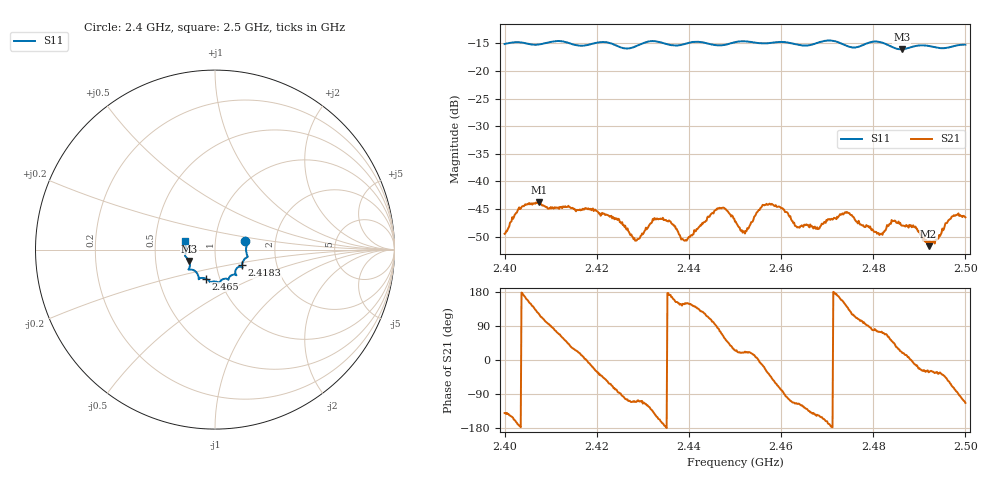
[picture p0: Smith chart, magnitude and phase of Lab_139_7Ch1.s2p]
# Hz S RI R 50
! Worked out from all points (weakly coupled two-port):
!   601 points, 2.4 GHz to 2.5 GHz, reference 50 ohm
!   highest |S21| = -43.81 dB at 2.4075 GHz (marker M1); lowest = -51.7 dB at 2.492 GHz (marker M2)
!   lowest |S11| = -16.1 dB at 2.4862 GHz (marker M3), VSWR 1.37, Z = 37.2 - j4.85 ohm
!   |S11| at or under -10 dB: start of sweep to end of sweep
!   S12 and S22 are empty: the file has one direction only
!   S11 on the Smith chart (normalised r, x): 2.4 GHz: 1.40, +0.14; 2.4183 GHz: 1.33, -0.24; 2.465 GHz: 0.86, -0.28; 2.5 GHz: 0.71, +0.07
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2.4e9  0.1689 0.0471  -0.00257 -0.00216  0 0  0 0
2.403333e9  0.179 0.0317  -0.00559 -0.000523  0 0  0 0
2.4075e9  0.1735 -0.00937  -0.00329 0.00554  0 0  0 0
2.416667e9  0.1547 -0.0684  0.00542 0.00119  0 0  0 0
2.418333e9  0.15 -0.087  0.00553 -0.000795  0 0  0 0
2.4245e9  0.1385 -0.0949  0.000494 -0.00445  0 0  0 0
2.4285e9  0.1129 -0.1237  -0.00103 -0.00273  0 0  0 0
2.433333e9  0.1177 -0.1411  -0.00412 -0.00191  0 0  0 0
2.439167e9  0.0777 -0.1577  -0.00252 0.00145  0 0  0 0
2.446333e9  0.0508 -0.1629  0.000643 0.00566  0 0  0 0
2.45e9  0.0264 -0.1804  0.0039 0.00186  0 0  0 0
2.452167e9  0.0213 -0.1842  0.00313 0.00127  0 0  0 0
2.457833e9  -0.0162 -0.1787  0.00439 -0.00432  0 0  0 0
2.465e9  -0.0523 -0.1615  -0.00234 -0.0033  0 0  0 0
2.466667e9  -0.0712 -0.1577  -0.00301 -0.00255  0 0  0 0
2.474333e9  -0.0962 -0.1376  -0.00403 0.0034  0 0  0 0
2.481167e9  -0.1472 -0.1098  0.000925 0.00328  0 0  0 0
2.483333e9  -0.141 -0.0964  0.0019 0.00349  0 0  0 0
2.486167e9  -0.1435 -0.0636  0.0037 0.00146  0 0  0 0
2.492e9  -0.1661 -0.0286  0.00219 -0.00139  0 0  0 0
2.497167e9  -0.1639 0.0285  0.00165 -0.00454  0 0  0 0
2.5e9  -0.1665 0.0469  -0.00187 -0.00435  0 0  0 0
